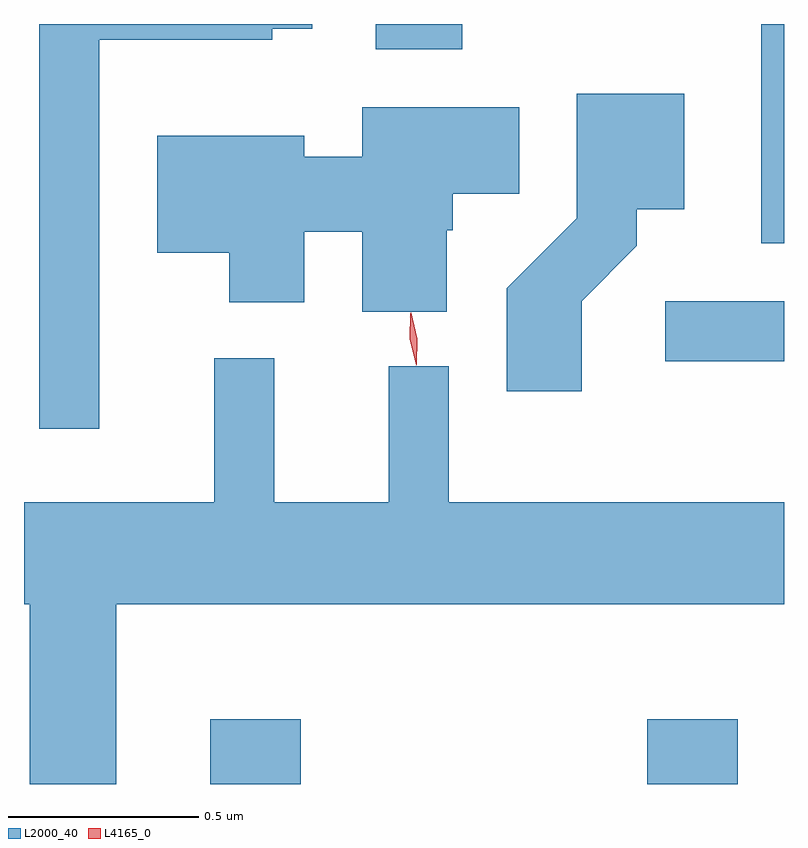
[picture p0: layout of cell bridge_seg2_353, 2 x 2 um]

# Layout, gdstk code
import gdstk
lib = gdstk.Library(unit=1e-6, precision=1e-09)
def R(c, l, rs):  # rectangles x0, y0, x1, y1
    for r in rs: c.add(gdstk.rectangle(r[:2], r[2:], *l))
def P(c, l, *ps):  # polygons
    for p in ps: c.add(gdstk.Polygon(p, *l))
L2000_40 = (2000, 40)
L4165_0 = (4165, 0)

bridge_seg2_353 = lib.new_cell('bridge_seg2_353')
R(bridge_seg2_353, L2000_40, [(410.986,996.783,411.224,996.954), (412.136,996.783,412.374,996.954), (412.183,997.896,412.496,998.054), (412.436,998.206,412.496,998.783), (411.421,998.716,411.649,998.783)])
P(bridge_seg2_353, L2000_40, [(410.694,998.741),(411.149,998.741),(411.149,998.771),(411.254,998.771),(411.254,998.783),(410.536,998.783),(410.536,997.718),(410.694,997.718)],
  [(411.964,998.054),(412.109,998.199),(412.109,998.296),(412.234,998.296),(412.234,998.599),(411.951,998.599),(411.951,998.272),(411.766,998.087),(411.766,997.816),(411.964,997.816)],
  [(411.609,998.24),(411.624,998.24),(411.624,998.336),(411.799,998.336),(411.799,998.564),(411.386,998.564),(411.386,998.434),(411.234,998.434),(411.234,998.489),(410.846,998.489),(410.846,998.181),(411.036,998.181),(411.036,998.051),(411.234,998.051),(411.234,998.236),(411.386,998.236),(411.386,998.026),(411.609,998.026)],
  [(410.496,997.256),(410.511,997.256),(410.511,996.783),(410.739,996.783),(410.739,997.256),(412.496,997.256),(412.496,997.524),(411.614,997.524),(411.614,997.883),(411.456,997.883),(411.456,997.524),(411.154,997.524),(411.154,997.903),(410.996,997.903),(410.996,997.524),(410.496,997.524)])
P(bridge_seg2_353, L4165_0, [(411.528,997.885),(411.528,997.886),(411.511,997.953),(411.514,998.023),(411.515,998.023),(411.515,998.023),(411.531,997.955),(411.529,997.886)],
  [(411.529,997.889),(411.529,997.889),(411.511,997.954),(411.513,998.02),(411.513,998.02),(411.514,998.02),(411.531,997.956),(411.53,997.889)])

lib.write_gds('bridge_seg2_353.gds')
